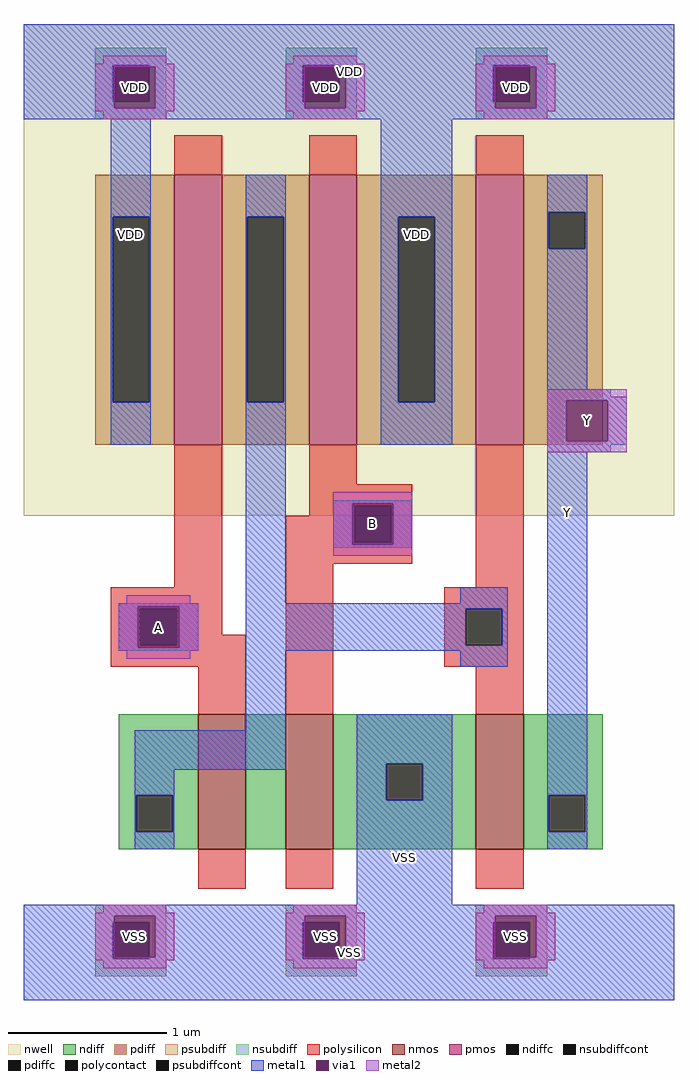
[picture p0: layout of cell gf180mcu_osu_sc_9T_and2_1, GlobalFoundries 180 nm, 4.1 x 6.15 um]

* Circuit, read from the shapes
.subckt gf180mcu_osu_sc_9T_and2_1 A B Y VDD VSS
XM1 n1 A n2 VSS nfet_03v3 w=0.85u l=0.3u
XM2 VSS B n1 VSS nfet_03v3 w=0.85u l=0.3u
XM3 Y n2 VSS VSS nfet_03v3 w=0.85u l=0.3u
XM4 n2 A VDD VDD pfet_03v3 w=1.7u l=0.3u
XM5 VDD B n2 VDD pfet_03v3 w=1.7u l=0.3u
XM6 Y n2 VDD VDD pfet_03v3 w=1.7u l=0.3u
.ends

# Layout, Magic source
magic
tech gf180mcuC
magscale 1 10
<< nwell >>
rect 0 610 820 1230
<< nmos >>
rect 220 190 280 360
rect 330 190 390 360
rect 570 190 630 360
<< pmos >>
rect 190 700 250 1040
rect 360 700 420 1040
rect 570 700 630 1040
<< ndiff >>
rect 120 258 220 360
rect 120 212 142 258
rect 188 212 220 258
rect 120 190 220 212
rect 280 190 330 360
rect 390 298 570 360
rect 390 252 457 298
rect 503 252 570 298
rect 390 190 570 252
rect 630 258 730 360
rect 630 212 662 258
rect 708 212 730 258
rect 630 190 730 212
<< pdiff >>
rect 90 987 190 1040
rect 90 753 112 987
rect 158 753 190 987
rect 90 700 190 753
rect 250 987 360 1040
rect 250 753 282 987
rect 328 753 360 987
rect 250 700 360 753
rect 420 987 570 1040
rect 420 753 472 987
rect 518 753 570 987
rect 420 700 570 753
rect 630 993 730 1040
rect 630 947 662 993
rect 708 947 730 993
rect 630 700 730 947
<< ndiffc >>
rect 142 212 188 258
rect 457 252 503 298
rect 662 212 708 258
<< pdiffc >>
rect 112 753 158 987
rect 282 753 328 987
rect 472 753 518 987
rect 662 947 708 993
<< psubdiff >>
rect 90 98 180 120
rect 90 52 112 98
rect 158 52 180 98
rect 90 30 180 52
rect 330 98 420 120
rect 330 52 352 98
rect 398 52 420 98
rect 330 30 420 52
rect 570 98 660 120
rect 570 52 592 98
rect 638 52 660 98
rect 570 30 660 52
<< nsubdiff >>
rect 90 1178 180 1200
rect 90 1132 112 1178
rect 158 1132 180 1178
rect 90 1110 180 1132
rect 330 1178 420 1200
rect 330 1132 352 1178
rect 398 1132 420 1178
rect 330 1110 420 1132
rect 570 1178 660 1200
rect 570 1132 592 1178
rect 638 1132 660 1178
rect 570 1110 660 1132
<< psubdiffcont >>
rect 112 52 158 98
rect 352 52 398 98
rect 592 52 638 98
<< nsubdiffcont >>
rect 112 1132 158 1178
rect 352 1132 398 1178
rect 592 1132 638 1178
<< polysilicon >>
rect 190 1040 250 1090
rect 360 1040 420 1090
rect 570 1040 630 1090
rect 190 520 250 700
rect 360 650 420 700
rect 360 623 490 650
rect 360 610 417 623
rect 110 493 250 520
rect 110 447 147 493
rect 193 460 250 493
rect 330 577 417 610
rect 463 577 490 623
rect 330 550 490 577
rect 193 447 280 460
rect 110 420 280 447
rect 220 360 280 420
rect 330 360 390 550
rect 570 520 630 700
rect 530 493 630 520
rect 530 447 557 493
rect 603 447 630 493
rect 530 420 630 447
rect 570 360 630 420
rect 220 140 280 190
rect 330 140 390 190
rect 570 140 630 190
<< polycontact >>
rect 147 447 193 493
rect 417 577 463 623
rect 557 447 603 493
<< metal1 >>
rect 0 1178 820 1230
rect 0 1132 112 1178
rect 158 1176 352 1178
rect 398 1176 592 1178
rect 638 1176 820 1178
rect 166 1132 352 1176
rect 406 1132 592 1176
rect 0 1124 114 1132
rect 166 1124 354 1132
rect 406 1124 594 1132
rect 646 1124 820 1176
rect 0 1110 820 1124
rect 110 987 160 1110
rect 110 753 112 987
rect 158 753 160 987
rect 110 700 160 753
rect 280 987 330 1040
rect 280 753 282 987
rect 328 753 330 987
rect 280 500 330 753
rect 450 987 540 1110
rect 450 753 472 987
rect 518 753 540 987
rect 450 700 540 753
rect 660 993 710 1040
rect 660 947 662 993
rect 708 947 710 993
rect 660 770 710 947
rect 660 760 740 770
rect 660 756 760 760
rect 660 704 684 756
rect 736 704 760 756
rect 660 700 760 704
rect 660 690 740 700
rect 390 626 490 630
rect 390 574 414 626
rect 466 574 490 626
rect 390 570 490 574
rect 550 500 610 520
rect 120 496 220 500
rect 120 444 144 496
rect 196 444 220 496
rect 120 440 220 444
rect 280 493 610 500
rect 280 447 557 493
rect 603 447 610 493
rect 280 440 610 447
rect 280 340 330 440
rect 550 420 610 440
rect 140 290 330 340
rect 420 298 540 360
rect 140 258 190 290
rect 140 212 142 258
rect 188 212 190 258
rect 140 190 190 212
rect 420 252 457 298
rect 503 252 540 298
rect 420 120 540 252
rect 660 258 710 690
rect 660 212 662 258
rect 708 212 710 258
rect 660 190 710 212
rect 0 106 820 120
rect 0 98 114 106
rect 166 98 354 106
rect 406 98 594 106
rect 0 52 112 98
rect 166 54 352 98
rect 406 54 592 98
rect 646 54 820 106
rect 158 52 352 54
rect 398 52 592 54
rect 638 52 820 54
rect 0 0 820 52
<< via1 >>
rect 114 1132 158 1176
rect 158 1132 166 1176
rect 354 1132 398 1176
rect 398 1132 406 1176
rect 594 1132 638 1176
rect 638 1132 646 1176
rect 114 1124 166 1132
rect 354 1124 406 1132
rect 594 1124 646 1132
rect 684 704 736 756
rect 414 623 466 626
rect 414 577 417 623
rect 417 577 463 623
rect 463 577 466 623
rect 414 574 466 577
rect 144 493 196 496
rect 144 447 147 493
rect 147 447 193 493
rect 193 447 196 493
rect 144 444 196 447
rect 114 98 166 106
rect 354 98 406 106
rect 594 98 646 106
rect 114 54 158 98
rect 158 54 166 98
rect 354 54 398 98
rect 398 54 406 98
rect 594 54 638 98
rect 638 54 646 98
<< metal2 >>
rect 100 1180 180 1190
rect 340 1180 420 1190
rect 580 1180 660 1190
rect 90 1176 190 1180
rect 90 1124 114 1176
rect 166 1124 190 1176
rect 90 1120 190 1124
rect 330 1176 430 1180
rect 330 1124 354 1176
rect 406 1124 430 1176
rect 330 1120 430 1124
rect 570 1176 670 1180
rect 570 1124 594 1176
rect 646 1124 670 1176
rect 570 1120 670 1124
rect 100 1110 180 1120
rect 340 1110 420 1120
rect 580 1110 660 1120
rect 660 756 760 770
rect 660 704 684 756
rect 736 704 760 756
rect 660 690 760 704
rect 390 626 490 640
rect 390 574 414 626
rect 466 574 490 626
rect 390 560 490 574
rect 130 500 210 510
rect 120 496 220 500
rect 120 444 144 496
rect 196 444 220 496
rect 120 440 220 444
rect 130 430 210 440
rect 100 110 180 120
rect 340 110 420 120
rect 580 110 660 120
rect 90 106 190 110
rect 90 54 114 106
rect 166 54 190 106
rect 90 50 190 54
rect 330 106 430 110
rect 330 54 354 106
rect 406 54 430 106
rect 330 50 430 54
rect 570 106 670 110
rect 570 54 594 106
rect 646 54 670 106
rect 570 50 670 54
rect 100 40 180 50
rect 340 40 420 50
rect 580 40 660 50
<< labels >>
rlabel metal2 s 100 1110 180 1190 4 VDD
port 8 nsew power bidirectional abutment
rlabel metal2 s 100 40 180 120 4 VSS
port 9 nsew ground bidirectional
rlabel metal2 s 130 430 210 510 4 A
port 1 nsew signal input
rlabel metal2 s 390 560 490 640 4 B
port 2 nsew signal input
rlabel metal2 s 660 690 760 770 4 Y
port 3 nsew signal output
rlabel metal2 s 120 440 220 500 1 A
port 1 nsew signal input
rlabel metal1 s 120 440 220 500 1 A
port 1 nsew signal input
rlabel metal1 s 390 570 490 630 1 B
port 2 nsew signal input
rlabel metal2 s 90 1120 190 1180 1 VDD
port 8 nsew power bidirectional abutment
rlabel metal2 s 340 1110 420 1190 1 VDD
port 8 nsew power bidirectional abutment
rlabel metal2 s 330 1120 430 1180 1 VDD
port 8 nsew power bidirectional abutment
rlabel metal2 s 580 1110 660 1190 1 VDD
port 8 nsew power bidirectional abutment
rlabel metal2 s 570 1120 670 1180 1 VDD
port 8 nsew power bidirectional abutment
rlabel metal1 s 110 700 160 1230 1 VDD
port 8 nsew power bidirectional abutment
rlabel metal1 s 450 700 540 1230 1 VDD
port 8 nsew power bidirectional abutment
rlabel metal1 s 0 1110 820 1230 1 VDD
port 8 nsew power bidirectional abutment
rlabel metal2 s 90 50 190 110 1 VSS
port 9 nsew ground bidirectional
rlabel metal2 s 340 40 420 120 1 VSS
port 9 nsew ground bidirectional
rlabel metal2 s 330 50 430 110 1 VSS
port 9 nsew ground bidirectional
rlabel metal2 s 580 40 660 120 1 VSS
port 9 nsew ground bidirectional
rlabel metal2 s 570 50 670 110 1 VSS
port 9 nsew ground bidirectional
rlabel metal1 s 420 0 540 360 1 VSS
port 9 nsew ground bidirectional
rlabel metal1 s 0 0 820 120 1 VSS
port 9 nsew ground bidirectional
rlabel metal1 s 660 190 710 1040 1 Y
port 3 nsew signal output
rlabel metal1 s 660 690 740 770 1 Y
port 3 nsew signal output
rlabel metal1 s 660 700 760 760 1 Y
port 3 nsew signal output
<< properties >>
string FIXED_BBOX 0 0 820 1230
string GDS_END 47998
string GDS_FILE $PDKPATH/libs.ref/gf180mcu_osu_sc_9T/gds/gf180mcu_osu_sc_9T.gds
string GDS_START 40760
string LEFclass CORE
string LEFsite GF018hv5v_mcu_sc7
string LEFsymmetry X Y
<< end >>
